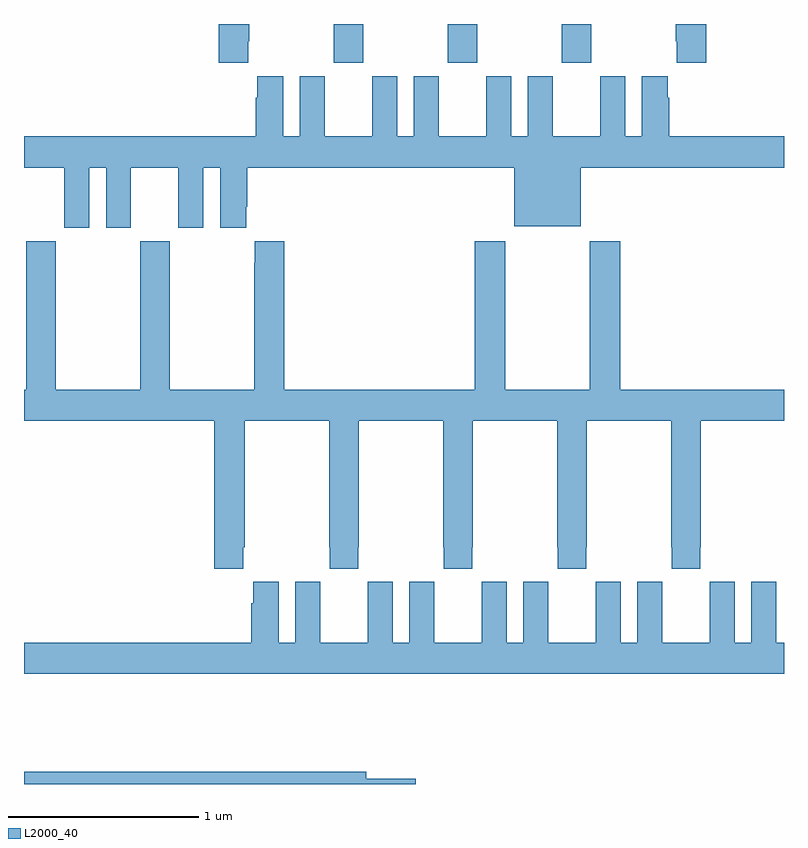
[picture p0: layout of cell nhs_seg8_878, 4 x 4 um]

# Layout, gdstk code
import gdstk
lib = gdstk.Library(unit=1e-6, precision=1e-09)
def R(c, l, rs):  # rectangles x0, y0, x1, y1
    for r in rs: c.add(gdstk.rectangle(r[:2], r[2:], *l))
def A(c, l, x, y, w, h, nx, ny, dx, dy):  # array of equal rectangles
    R(c, l, [(x+i*dx, y+j*dy, x+i*dx+w, y+j*dy+h) for i in range(nx) for j in range(ny)])
def P(c, l, *ps):  # polygons
    for p in ps: c.add(gdstk.Polygon(p, *l))
L2000_40 = (2000, 40)

nhs_seg8_878 = lib.new_cell('nhs_seg8_878')
A(nhs_seg8_878, L2000_40, 168.631, 1139.697, 0.155, 0.203, 3, 1, 0.6, 0)
P(nhs_seg8_878, L2000_40, [(170.591,1139.9),(170.431,1139.9),(170.431,1139.809),(170.435,1139.809),(170.435,1139.697),(170.591,1139.697)],
  [(168.181,1139.809),(168.186,1139.809),(168.186,1139.9),(168.026,1139.9),(168.026,1139.697),(168.181,1139.697)],
  [(167.344,1139.144),(167.432,1139.144),(167.432,1138.827),(167.563,1138.827),(167.563,1139.144),(167.813,1139.144),(167.813,1138.827),(167.944,1138.827),(167.944,1139.144),(168.032,1139.144),(168.032,1138.827),(168.169,1138.827),(168.169,1138.939),(168.176,1138.939),(168.176,1139.144),(169.58,1139.144),(169.58,1138.835),(169.93,1138.835),(169.93,1139.144),(171,1139.144),(171,1139.308),(170.396,1139.308),(170.396,1139.513),(170.389,1139.513),(170.389,1139.626),(170.252,1139.626),(170.252,1139.308),(170.164,1139.308),(170.164,1139.626),(170.033,1139.626),(170.033,1139.308),(169.783,1139.308),(169.783,1139.626),(169.652,1139.626),(169.652,1139.308),(169.564,1139.308),(169.564,1139.626),(169.433,1139.626),(169.433,1139.308),(169.183,1139.308),(169.183,1139.626),(169.052,1139.626),(169.052,1139.308),(168.964,1139.308),(168.964,1139.626),(168.833,1139.626),(168.833,1139.308),(168.583,1139.308),(168.583,1139.626),(168.452,1139.626),(168.452,1139.308),(168.364,1139.308),(168.364,1139.626),(168.227,1139.626),(168.227,1139.513),(168.221,1139.513),(168.221,1139.308),(167,1139.308),(167,1139.144),(167.213,1139.144),(167.213,1138.827),(167.344,1138.827)],
  [(169.533,1138.756),(169.373,1138.756),(169.373,1137.976),(168.371,1137.976),(168.371,1138.756),(168.215,1138.756),(168.215,1138.643),(168.211,1138.643),(168.211,1137.976),(167.766,1137.976),(167.766,1138.756),(167.611,1138.756),(167.611,1137.976),(167.166,1137.976),(167.166,1138.756),(167.011,1138.756),(167.011,1137.976),(167,1137.976),(167,1137.812),(168.002,1137.812),(168.002,1137.033),(168.155,1137.033),(168.155,1137.145),(168.162,1137.145),(168.162,1137.812),(168.607,1137.812),(168.607,1137.145),(168.609,1137.145),(168.609,1137.033),(168.759,1137.033),(168.759,1137.145),(168.762,1137.145),(168.762,1137.812),(169.207,1137.812),(169.207,1137.145),(169.209,1137.145),(169.209,1137.033),(169.359,1137.033),(169.359,1137.145),(169.362,1137.145),(169.362,1137.812),(169.807,1137.812),(169.807,1137.145),(169.809,1137.145),(169.809,1137.033),(169.959,1137.033),(169.959,1137.145),(169.962,1137.145),(169.962,1137.812),(170.407,1137.812),(170.407,1137.145),(170.409,1137.145),(170.409,1137.033),(170.559,1137.033),(170.559,1137.145),(170.562,1137.145),(170.562,1137.812),(171,1137.812),(171,1137.976),(170.138,1137.976),(170.138,1138.756),(169.978,1138.756),(169.978,1137.976),(169.533,1137.976)],
  [(171,1136.644),(170.959,1136.644),(170.959,1136.852),(170.958,1136.852),(170.958,1136.965),(170.828,1136.965),(170.828,1136.644),(170.74,1136.644),(170.74,1136.965),(170.61,1136.965),(170.61,1136.852),(170.609,1136.852),(170.609,1136.644),(170.359,1136.644),(170.359,1136.852),(170.358,1136.852),(170.358,1136.965),(170.228,1136.965),(170.228,1136.644),(170.14,1136.644),(170.14,1136.965),(170.01,1136.965),(170.01,1136.852),(170.009,1136.852),(170.009,1136.644),(169.759,1136.644),(169.759,1136.852),(169.758,1136.852),(169.758,1136.965),(169.628,1136.965),(169.628,1136.644),(169.54,1136.644),(169.54,1136.965),(169.41,1136.965),(169.41,1136.852),(169.409,1136.852),(169.409,1136.644),(169.159,1136.644),(169.159,1136.852),(169.158,1136.852),(169.158,1136.965),(169.028,1136.965),(169.028,1136.644),(168.94,1136.644),(168.94,1136.965),(168.81,1136.965),(168.81,1136.852),(168.809,1136.852),(168.809,1136.644),(168.559,1136.644),(168.559,1136.852),(168.558,1136.852),(168.558,1136.965),(168.428,1136.965),(168.428,1136.644),(168.34,1136.644),(168.34,1136.965),(168.206,1136.965),(168.206,1136.852),(168.197,1136.852),(168.197,1136.644),(167,1136.644),(167,1136.48),(171,1136.48)],
  [(169.063,1135.928),(168.802,1135.928),(168.802,1135.964),(167,1135.964),(167,1135.9),(169.063,1135.9)])

lib.write_gds('nhs_seg8_878.gds')
